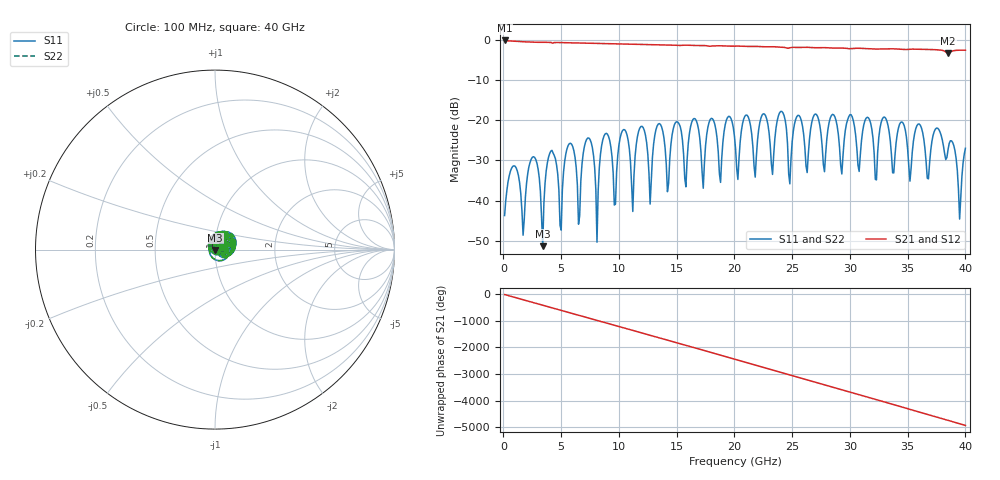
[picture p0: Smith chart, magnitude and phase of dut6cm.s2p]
! agentee dut6cm-s
! ports P1 P2
# Hz S RI R 50
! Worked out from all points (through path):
!   400 points, 100 MHz to 40 GHz, reference 50 ohm
!   highest |S21| = -0.06 dB at 100 MHz (marker M1); lowest = -3.2 dB at 38.5 GHz (marker M2)
!   group delay of S21, straight-line fit = 342 ps
!   lowest |S11| = -51.4 dB at 3.4 GHz (marker M3), VSWR 1.01, Z = 50 - j0.27 ohm
!   |S11| at or under -10 dB: start of sweep to end of sweep
!   |S22| runs from -51.4 to -17.8 dB; largest |S21 - S12| = 3.2e-07
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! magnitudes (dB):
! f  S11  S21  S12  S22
! 100 MHz  -43.7  -0.1  -0.1  -43.7
! 2.7 GHz  -29.2  -0.5  -0.5  -29.2
! 3.4 GHz  -51.4  -0.5  -0.5  -51.4
! 4.1 GHz  -27.7  -0.5  -0.5  -27.7
! 5 GHz  -47.4  -0.6  -0.6  -47.4
! 5.5 GHz  -27.1  -0.6  -0.6  -27.1
! 6.5 GHz  -45.9  -0.7  -0.7  -45.9
! 6.8 GHz  -31.0  -0.7  -0.7  -31.0
! 7.7 GHz  -26.8  -0.8  -0.8  -26.8
! 8.1 GHz  -50.4  -0.8  -0.8  -50.4
! 8.7 GHz  -23.9  -0.8  -0.8  -23.9
! 10.6 GHz  -22.8  -1.0  -1.0  -22.8
! 11.2 GHz  -42.7  -1.0  -1.0  -42.7
! 13.4 GHz  -20.9  -1.1  -1.1  -20.9
! 14.2 GHz  -37.8  -1.2  -1.2  -37.8
! 15 GHz  -20.3  -1.3  -1.3  -20.3
! 20.1 GHz  -27.1  -1.5  -1.5  -27.1
! 26.7 GHz  -20.4  -1.8  -1.8  -20.4
! 33.4 GHz  -22.9  -2.1  -2.1  -22.9
! 38.5 GHz  -27.2  -3.2  -3.2  -27.2
! 39.5 GHz  -44.6  -2.5  -2.5  -44.6
! 40 GHz  -27.0  -2.5  -2.5  -27.0
